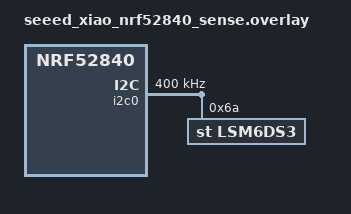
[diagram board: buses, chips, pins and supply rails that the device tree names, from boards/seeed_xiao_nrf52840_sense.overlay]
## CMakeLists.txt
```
cmake_minimum_required(VERSION 3.20.0)
find_package(Zephyr REQUIRED HINTS $ENV{ZEPHYR_BASE})
project(IMUble)

# 确保您的应用主文件 src/main.c 被明确包含
target_sources(app PRIVATE src/main.c)
```

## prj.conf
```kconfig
# ============================================================
# 基础系统配置
# ============================================================
CONFIG_MAIN_STACK_SIZE=2048
CONFIG_HEAP_MEM_POOL_SIZE=8192
CONFIG_PRINTK=y
CONFIG_STDOUT_CONSOLE=y
CONFIG_CBPRINTF_FP_SUPPORT=y

# ============================================================
# 蓝牙（BLE）配置
# ============================================================
CONFIG_BT=y
CONFIG_BT_PERIPHERAL=y
CONFIG_BT_BROADCASTER=y
CONFIG_BT_DEVICE_NAME="MyFitnessPod"
CONFIG_BT_GATT_CLIENT=y

# ============================================================
# 内核与线程管理
# ============================================================
CONFIG_MULTITHREADING=y
CONFIG_NUM_COOP_PRIORITIES=16
CONFIG_NUM_PREEMPT_PRIORITIES=16
CONFIG_POLL=y
CONFIG_TIMESLICING=y

# ============================================================
# 系统工作队列
# ============================================================
CONFIG_SYSTEM_WORKQUEUE_STACK_SIZE=2048

# ============================================================
# 外设与传感器框架
# ============================================================
CONFIG_I2C=y
CONFIG_SPI=y
CONFIG_SENSOR=y

# ============================================================
# LSM6DSL 驱动支持
# ============================================================
CONFIG_LSM6DSL=y
CONFIG_LSM6DSL_TRIGGER_GLOBAL_THREAD=y
# CONFIG_LSM6DSL_TRIGGER_OWN_THREAD=y  # 二选一（默认 global）

# ============================================================
# 系统时钟（通常默认开启）
# ============================================================
CONFIG_SYS_CLOCK_EXISTS=y

# ============================================================
# GPIO（用于 LED 闪烁）
# ============================================================
CONFIG_GPIO=y

# === 1. 允许大 MTU (关键) ===
# 告诉协议栈我们想发大包，不要拆包
CONFIG_BT_L2CAP_TX_MTU=247
CONFIG_BT_CTLR_DATA_LENGTH_MAX=251
CONFIG_BT_BUF_ACL_TX_SIZE=251
CONFIG_BT_BUF_ACL_RX_SIZE=251
CONFIG_BT_L2CAP_DYNAMIC_CHANNEL=y

# === 3. 增加缓冲区数量 (解决 -12 错误的核心) ===
# 发送缓冲区 (TX) 设为 10
CONFIG_BT_BUF_ACL_TX_COUNT=80
CONFIG_BT_L2CAP_TX_BUF_COUNT=80

# === 4. 修复编译报错的关键配置 ===
# 接收缓冲区 (RX) 必须大于 TX (建议 TX + 6)
CONFIG_BT_BUF_EVT_RX_COUNT=86

CONFIG_BT_CONN_TX_MAX=80

# === 3. 启用数据长度扩展 (DLE) ===
# 允许在空中一次传输更多字节，提高吞吐量
CONFIG_BT_DATA_LEN_UPDATE=y
CONFIG_BT_USER_DATA_LEN_UPDATE=y
```

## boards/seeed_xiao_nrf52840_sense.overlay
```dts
/ {
    soc {
        i2c0: i2c@40003000 {
            compatible = "nordic,nrf-twim";
            status = "okay";
            clock-frequency = <I2C_BITRATE_FAST>;

            lsm6ds3: lsm6ds3@6a {
                compatible = "st,lsm6ds3";
                reg = <0x6a>;
                label = "LSM6DS3";
                status = "okay";
            };
        };
    };
};
```

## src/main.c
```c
#include <zephyr/device.h>
#include <zephyr/devicetree.h>
#include <zephyr/kernel.h>       
#include <zephyr/sys/atomic.h>  
#include <stdio.h>               
#include <zephyr/bluetooth/bluetooth.h>
#include <zephyr/drivers/sensor.h>
#include <zephyr/bluetooth/conn.h>
#include <zephyr/bluetooth/uuid.h>
#include <zephyr/bluetooth/gatt.h>
#include <zephyr/bluetooth/hci.h>
#include <zephyr/sys/printk.h>


#define SAMPLE_FREQUENCY 104 // 传感器采样频率 (Hz)
#define CONSUMER_RATE_MS 50  // 消费者 (发送) 频率 (ms) -> 20 Hz

// 传感器数据结构体：用于存储单个样本，推入 k_fifo
struct imu_sample
{
        sys_snode_t node; // k_fifo 需要的节点
        struct sensor_value accel[3];
        struct sensor_value gyro[3];
};

// 消息队列：用于传感器 ISR (中断服务程序) 和工作项 (延迟发送) 之间传输数据
K_FIFO_DEFINE(imu_data_fifo);

// 全局传感器设备指针（结构体指针）
const struct device *sensor = DEVICE_DT_GET_ONE(st_lsm6dsl);

//一次发送5个包
#define BATCH_SIZE 6

// 定义通过蓝牙发送的数据包结构 (24 字节)
struct imu_batch_packet_t
{
        uint8_t count;
        struct {
        float accel[3];
        float gyro[3];
    } samples[BATCH_SIZE];    
} __attribute__((packed)); // 编译器指令，不让编译器填充多余字节（虽然float固定4字节，但是保险起见）

//消费者函数
void consumer_work_handler(struct k_work *work);
// 延迟工作项：用于周期性地处理队列并发送数据
static K_WORK_DELAYABLE_DEFINE(producer_work, consumer_work_handler); 

// 标记手机是否开启了通知
static bool imu_ntf_enabled;

static void imu_ccc_cfg_changed(const struct bt_gatt_attr *attr, uint16_t value);

/* Service UUID: ac53c60f-179a-40f9-a1e1-abe320dc8e41 */

/* Characteristic UUID: 3631478e-0a3a-4ccc-8f37-76b12db44564 */

#define BT_UUID_IMU_SERVICE BT_UUID_DECLARE_128(BT_UUID_128_ENCODE(0xac53c60f, 0x179a, 0x40f9, 0xa1e1, 0xabe320dc8e41))
#define BT_UUID_IMU_DATA_CHAR BT_UUID_DECLARE_128(BT_UUID_128_ENCODE(0x3631478e, 0x0a3a, 0x4ccc, 0x8f37, 0x76b12db44564))

// 定义GATT服务
BT_GATT_SERVICE_DEFINE(imu_svc,

                       BT_GATT_PRIMARY_SERVICE(BT_UUID_IMU_SERVICE),

                       BT_GATT_CHARACTERISTIC(
                           BT_UUID_IMU_DATA_CHAR, // 特征的 UUID
                           BT_GATT_CHRC_NOTIFY,   // 特征的属性：通知
                           BT_GATT_PERM_NONE,     // 权限：无
                           NULL,                  // 读回调，不开read功能
                           NULL,                  // 写回调，不开write功能
                           NULL                   // 给上面两个函数传参，无
                           ),

                       BT_GATT_CUD("IMU Data", BT_GATT_PERM_READ),

                       BT_GATT_CCC( // CCC通知开关
                           imu_ccc_cfg_changed,
                           BT_GATT_PERM_READ | BT_GATT_PERM_WRITE // 手机 App 必须有权读写这个 CCC 描述符
                           ));

static const struct bt_data ad[] = {
    BT_DATA_BYTES(BT_DATA_FLAGS, (BT_LE_AD_GENERAL | BT_LE_AD_NO_BREDR)),
    BT_DATA_BYTES(BT_DATA_UUID128_ALL,
                  BT_UUID_128_ENCODE(0xac53c60f, 0x179a, 0x40f9, 0xa1e1, 0xabe320dc8e41))};

static const struct bt_data sd[] = {
    BT_DATA(BT_DATA_NAME_COMPLETE, CONFIG_BT_DEVICE_NAME, sizeof(CONFIG_BT_DEVICE_NAME) - 1)};

static ATOMIC_DEFINE(state, 2U);

#define STATE_CONNECTED 1U

#define STATE_DISCONNECTED 2U

static void connected(struct bt_conn *conn, uint8_t err)
{
        if (err)
        {

                // 如果有错误，打印连接失败信息，包括错误码和错误描述

                printk("Connection failed, err 0x%02x %s\n", err, bt_hci_err_to_str(err));
        }
        else
        {

                // 没错误，打印连接成功！！

                printk("Connected\n");

                // 使用原子操作安全地设置 state 变量的 STATE_CONNECTED 位（第一位），设置值为1
                (void)atomic_set_bit(state, STATE_CONNECTED);
        

        // === 新增：请求交换 MTU ===
        // 这会告诉手机：“我支持大包（247字节），我们也用大包通信吧”
        // 放在这里或者在一个单独的 work 稍微延迟一点调用也可以
        //bt_gatt_exchange_mtu(conn, NULL);
        }
}

static void disconnected(struct bt_conn *conn, uint8_t reason)
{
        // 打印连接断开信息，包括断开原因代码和原因描述
        printk("Disconnected, reason 0x%02x %s\n", reason, bt_hci_err_to_str(reason));

        // 使用原子操作安全地设置 state 变量的 STATE_DISCONNECTED 位（第二位），设置值为1
        (void)atomic_set_bit(state, STATE_DISCONNECTED);
}

//注册回调函数
BT_CONN_CB_DEFINE(conn_callbacks) = {
    .connected = connected,
    .disconnected = disconnected,
};

static void imu_ccc_cfg_changed(const struct bt_gatt_attr *attr, uint16_t value)
{
        // 检查写入的值是启用通知 (0x0001) 还是禁用 (0x0000)
        imu_ntf_enabled = (value == BT_GATT_CCC_NOTIFY);

        printk("IMU notification status changed: %s\n", imu_ntf_enabled ? "enabled" : "disabled");
}

// 从 k_fifo 中取出所有样本，打包、发送
void consumer_work_handler(struct k_work *work)
{
        struct imu_sample *sample_ptr;
        struct imu_batch_packet_t packet;
        packet.count = 0;

        printf("\n[Consumer] === 开始批量传输 ===\n");

        // 从队列中取出所有积攒的样本
        while ((sample_ptr = k_fifo_get(&imu_data_fifo, K_NO_WAIT)) != NULL && packet.count < BATCH_SIZE)
        {
                int i = packet.count;
                packet.samples[i].accel[0] = (float)sensor_value_to_double(&sample_ptr->accel[0]);
                packet.samples[i].accel[1] = (float)sensor_value_to_double(&sample_ptr->accel[1]);
                packet.samples[i].accel[2] = (float)sensor_value_to_double(&sample_ptr->accel[2]);
        
                packet.samples[i].gyro[0]  = (float)sensor_value_to_double(&sample_ptr->gyro[0]);
                packet.samples[i].gyro[1]  = (float)sensor_value_to_double(&sample_ptr->gyro[1]);
                packet.samples[i].gyro[2]  = (float)sensor_value_to_double(&sample_ptr->gyro[2]);
                packet.count++;
                k_free(sample_ptr);
                printk("free batch of %d samples\n", packet.count);
        }

        if (imu_ntf_enabled && packet.count > 0) {
                size_t send_len = 1 + packet.count * 24;
                int err = bt_gatt_notify(NULL, &imu_svc.attrs[2], &packet, send_len);
                if (err) {
                printk("Batch notify failed: %d\n", err);
                } else {
                printk("Sent batch of %d samples\n", packet.count);
                }
        }

        // 重新启动延迟工作项 (20 Hz 周期性运行)
        k_work_reschedule(&producer_work, K_MSEC(CONSUMER_RATE_MS));
}

// 生产者：传感器触发器回调函数 (104 Hz)
static void sensor_trigger_handler(const struct device *dev,
                                   const struct sensor_trigger *trigger)
{
        struct imu_sample *new_sample;

        // 获取数据
        if (sensor_sample_fetch(dev) < 0)
        {
                printk("[Producer] 传感器数据获取失败\n");
                return;
        }

        // 分配内存给新的样本
        new_sample = k_malloc(sizeof(struct imu_sample));
        if (new_sample == NULL)
        {
                printk("[Producer] 内存分配失败，样本丢失\n");
                return;
        }

        // 从驱动程序获取数据
        sensor_channel_get(dev, SENSOR_CHAN_ACCEL_X, &new_sample->accel[0]);
        sensor_channel_get(dev, SENSOR_CHAN_ACCEL_Y, &new_sample->accel[1]);
        sensor_channel_get(dev, SENSOR_CHAN_ACCEL_Z, &new_sample->accel[2]);
        sensor_channel_get(dev, SENSOR_CHAN_GYRO_X, &new_sample->gyro[0]);
        sensor_channel_get(dev, SENSOR_CHAN_GYRO_Y, &new_sample->gyro[1]);
        sensor_channel_get(dev, SENSOR_CHAN_GYRO_Z, &new_sample->gyro[2]);

        //  将样本推入队列
        k_fifo_put(&imu_data_fifo, new_sample);

        printk("[Producer] 样本推入队列: Accel Z=%.2f\n",
               sensor_value_to_double(&new_sample->accel[2]));
}

#if defined(CONFIG_GPIO) // 检查kconfig中是否启用GPIO功能
/* The devicetree node identifier for the "led0" alias. */
#define LED0_NODE DT_ALIAS(led0) // 获取 "led0" 别名对应的设备树节点

#if DT_NODE_HAS_STATUS_OKAY(LED0_NODE)                                     // 判断Led0这个设备是否可用
#include <zephyr/drivers/gpio.h>                                           // 包含 GPIO 驱动头文件
#define HAS_LED 1                                                          // 定义一个宏，表示存在可用的 LED
static const struct gpio_dt_spec led = GPIO_DT_SPEC_GET(LED0_NODE, gpios); // 获取 led0 的具体硬件信息
#define BLINK_ONOFF K_MSEC(500)                                            // 定义闪烁间隔为 500 毫秒

static struct k_work_delayable blink_work; // 定义一个延时工作项变量
static bool led_is_on;                     // 追踪 LED 状态

static void blink_timeout(struct k_work *work) // 实际执行闪烁逻辑的回调函数 不断调度自己
{
        led_is_on = !led_is_on;
        gpio_pin_set(led.port, led.pin, (int)led_is_on); // 切换电平

        k_work_schedule(&blink_work, BLINK_ONOFF); // 请在 500 毫秒之后，把与 blink_work 相关联的那个函数 (blink_timeout) 交给一个后台工作线程去执行。
}

static int blink_setup(void)
{
        int err;

        // 检查设备是否就绪
        printk("Checking LED device...");
        if (!gpio_is_ready_dt(&led))
        {
                printk("failed.\n");
                return -EIO; // 打印I/O错误码
        }
        printk("done.\n");

        // 设置引脚
        printk("Configuring GPIO pin...");
        err = gpio_pin_configure_dt(&led, GPIO_OUTPUT_ACTIVE); // 把led变量代表的引脚设为输出模式
        if (err)
        {
                printk("failed.\n");
                return -EIO;
        }
        printk("done.\n");

        k_work_init_delayable(&blink_work, blink_timeout); // 把待办事项和具体内容关联起来

        return 0;
}

static void blink_start(void)
{
        printk("Start blinking LED...\n");
        led_is_on = false;
        gpio_pin_set(led.port, led.pin, (int)led_is_on); // 初始电平设置为低，灯不亮
        k_work_schedule(&blink_work, BLINK_ONOFF);       // 请在 500 毫秒之后，把与 blink_work 相关联的那个函数 (blink_timeout) 交给一个后台工作线程去执行。
}

static void blink_stop(void)
{
        struct k_work_sync work_sync;

        printk("Stop blinking LED.\n");
        k_work_cancel_delayable_sync(&blink_work, &work_sync); // 取消尚未执行的调度

        /* Keep LED on */
        led_is_on = true;
        gpio_pin_set(led.port, led.pin, (int)led_is_on); // 停止后，保持 LED 为常亮状态
}
#endif /* LED0_NODE */
#endif /* CONFIG_GPIO */

int main(void)
{
        int err;
        err = bt_enable(NULL);
        if (err)
        {
                printk("Bluetooth init failed (err %d)\n", err); // 如果初始化失败打印错误信息
                return 0;                                        // 蓝牙无法启动，程序退出
        }

        printk("Bluetooth initialized\n");

        err = bt_le_adv_start(BT_LE_ADV_CONN_FAST_1, ad, ARRAY_SIZE(ad), sd, ARRAY_SIZE(sd));
        if (err)
        {
                printk("Advertising failed to start (err %d)\n", err);
                return 0;
        }
        printk("Advertising successfully started\n");

#if defined(HAS_LED) // 预处理器检查：仅当通过设备树找到了可用的 LED ("led0") 并且 GPIO 功能已启用时，才执行此代码块。（上文中两个#IF）

        // 调用 blink_setup() 函数，初始化 LED 相关的 GPIO 引脚，并设置好延时工作项
        err = blink_setup();
        if (err)
        {
                return 0;
        }

        // 调用 blink_start() 函数，开始使用工作队列进行非阻塞的 LED 闪烁，表示设备正在等待连接
        blink_start();

#endif /* HAS_LED */

        if (!device_is_ready(sensor))
        {
                printf("[Main] 错误: IMU传感器未就绪\n");
                return 0;
        }

        printf("[Main] IMU传感器初始化成功\n");

        struct sensor_value odr_attr;

        /* 设置加速度计和陀螺仪的采样频率为 104 Hz */
        odr_attr.val1 = SAMPLE_FREQUENCY; // 104 Hz
        odr_attr.val2 = 0;                // 0 小数部分

        // 设置加速度计的采样频率
        if (sensor_attr_set(sensor, SENSOR_CHAN_ACCEL_XYZ,
                            SENSOR_ATTR_SAMPLING_FREQUENCY, &odr_attr) < 0)
        {
                printf("[Main] 无法设置加速度计的采样频率\n");
                return 0;
        }
        printf("[Main] 加速度计采样频率设置为 104 Hz\n");

        // 设置陀螺仪的采样频率
        if (sensor_attr_set(sensor, SENSOR_CHAN_GYRO_XYZ,
                            SENSOR_ATTR_SAMPLING_FREQUENCY, &odr_attr) < 0)
        {
                printf("[Main] 无法设置陀螺仪的采样频率\n");
                return 0;
        }
        printf("[Main] 陀螺仪采样频率设置为 104 Hz\n");

        /* --- 配置和启用传感器触发器 (生产者) --- */
        struct sensor_trigger trig = {
            .type = SENSOR_TRIG_DATA_READY, // 数据就绪触发
            .chan = SENSOR_CHAN_ALL,
        };

        // 绑定触发器和回调函数
        if (sensor_trigger_set(sensor, &trig, sensor_trigger_handler) < 0)
        {
                printf("[Main] 无法设置传感器触发器\n");
                return 0;
        }
        printf("[Main] 传感器线程已启动\n");

        // 启动延迟工作项
        // 立即启动第一次运行，之后它会在 consumer_work_handler 中自己每 50 ms 重新调度
        k_work_reschedule(&producer_work, K_MSEC(CONSUMER_RATE_MS));
        printf("[Main] 延迟工作项 (消费者, %d ms) 已启动。\n", CONSUMER_RATE_MS);

        while (1)
        {
                k_sleep(K_MSEC(500)); // 暂停 500 毫秒，给其他任务运行时间

                if (atomic_test_and_clear_bit(state, STATE_CONNECTED))
                {

                        /* Connected callback executed */

                        blink_stop(); // 停止闪灯，改为常亮
                }
                else if (atomic_test_and_clear_bit(state, STATE_DISCONNECTED))
                { // 每秒轮询检查连接是否断开	// 重新启动传统广播
                        printk("Starting Legacy Advertising (connectable and scannable)\n");
                        err = bt_le_adv_start(BT_LE_ADV_CONN_FAST_1, ad, ARRAY_SIZE(ad), sd,
                                              ARRAY_SIZE(sd));
                        if (err)
                        {
                                printk("Advertising failed to start (err %d)\n", err);
                                return 0;
                        }

                        blink_start();
                }
        }
        return 0;
}
```
